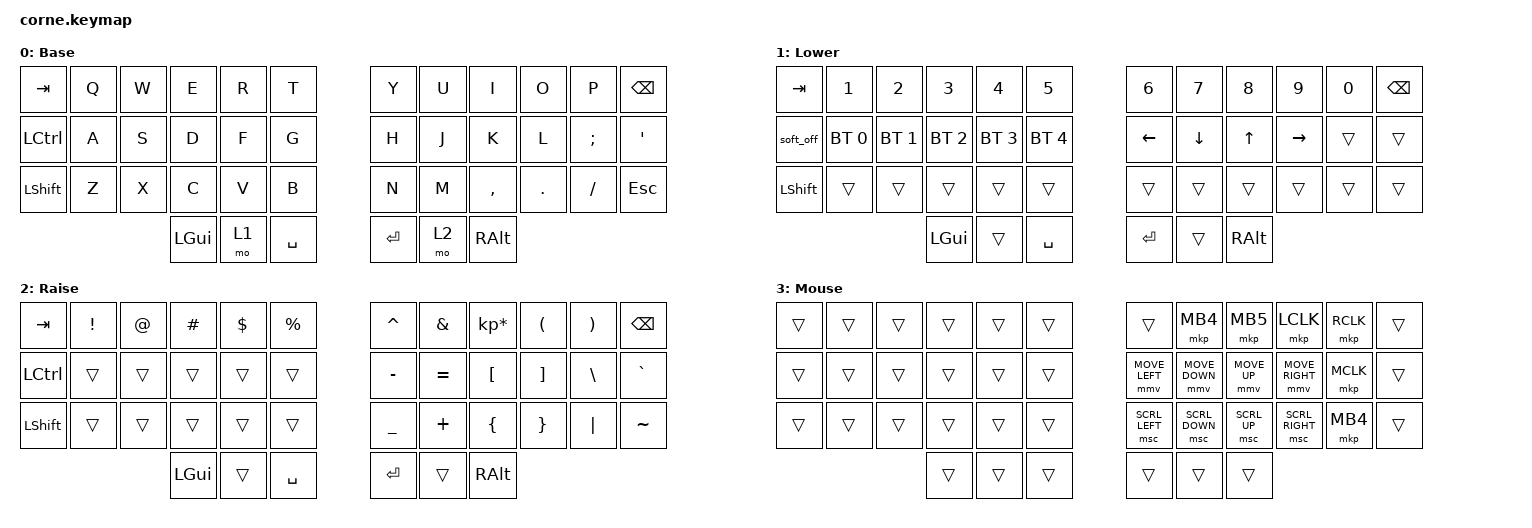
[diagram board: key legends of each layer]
/*
 * Copyright (c) 2020 The ZMK Contributors
 *
 * SPDX-License-Identifier: MIT
 */

#include <behaviors.dtsi>
#include <dt-bindings/zmk/keys.h>
#include <dt-bindings/zmk/bt.h>
#include <dt-bindings/zmk/pointing.h>
#include <input/processors.dtsi>

/ {
        soft_off_wakeup: soft_off_wakeup {
                compatible = "zmk,soft-off-wakeup-sources";
                wakeup-sources = <&kscan0>;
        };

        keymap {
                compatible = "zmk,keymap";

                default_layer {
// -----------------------------------------------------------------------------------------
// |  TAB |  Q  |  W  |  E  |  R  |  T  |   |  Y  |  U   |  I  |  O  |  P  | BKSP |
// | CTRL |  A  |  S  |  D  |  F  |  G  |   |  H  |  J   |  K  |  L  |  ;  |  '   |
// | SHFT |  Z  |  X  |  C  |  V  |  B  |   |  N  |  M   |  ,  |  .  |  /  | ESC  |
//                    | GUI | LWR | SPC |   | ENT | RSE  | ALT |
                        display-name = "Base";
                        bindings = <
   &kp TAB   &kp Q &kp W &kp E &kp R &kp T   &kp Y &kp U  &kp I     &kp O   &kp P    &kp BSPC
   &kp LCTRL &kp A &kp S &kp D &kp F &kp G   &kp H &kp J  &kp K     &kp L   &kp SEMI &kp SQT
   &kp LSHFT &kp Z &kp X &kp C &kp V &kp B   &kp N &kp M  &kp COMMA &kp DOT &kp FSLH &kp ESC
                  &kp LGUI &mo 1 &kp SPACE   &kp RET &mo 2 &kp RALT
                        >;
                };
                lower_layer {
// -----------------------------------------------------------------------------------------
// |  TAB |  1  |  2  |  3  |  4  |  5  |   |  6  |  7  |  8  |  9  |  0  | BKSP |
// | BTCLR| BT1 | BT2 | BT3 | BT4 | BT5 |   | LFT | DWN |  UP | RGT |     |      |
// | SHFT |     |     |     |     |     |   |     |     |     |     |     |      |
//                    | GUI |     | SPC |   | ENT |     | ALT |
                        display-name = "Lower";
                        bindings = <
   &kp TAB    &kp N1       &kp N2       &kp N3       &kp N4       &kp N5         &kp N6   &kp N7   &kp N8 &kp N9    &kp N0 &kp BSPC
   &soft_off  &bt BT_SEL 0 &bt BT_SEL 1 &bt BT_SEL 2 &bt BT_SEL 3 &bt BT_SEL 4   &kp LEFT &kp DOWN &kp UP &kp RIGHT &trans &trans
   &kp LSHFT  &trans       &trans       &trans       &trans       &trans         &trans   &trans   &trans &trans    &trans &trans
                          	        &kp LGUI     &trans       &kp SPACE      &kp RET  &trans   &kp RALT
                        >;
                };

                raise_layer {
// -----------------------------------------------------------------------------------------
// |  TAB |  !  |  @  |  #  |  $  |  %  |   |  ^  |  &  |  *  |  (  |  )  | BKSP |
// | CTRL |     |     |     |     |     |   |  -  |  =  |  [  |  ]  |  \  |  `   |
// | SHFT |     |     |     |     |     |   |  _  |  +  |  {  |  }  | "|" |  ~   |
//                    | GUI |     | SPC |   | ENT |     | ALT |
                        display-name = "Raise";
                        bindings = <
   &kp  TAB  &kp EXCL &kp AT &kp HASH &kp DLLR &kp PRCNT   &kp CARET &kp AMPS  &kp KP_MULTIPLY &kp LPAR &kp RPAR &kp BSPC
   &kp LCTRL &trans   &trans &trans   &trans   &trans      &kp MINUS &kp EQUAL &kp LBKT        &kp RBKT &kp BSLH &kp GRAVE
   &kp LSHFT &trans   &trans &trans   &trans   &trans      &kp UNDER &kp PLUS  &kp LBRC        &kp RBRC &kp PIPE &kp TILDE
                    	     &kp LGUI &trans   &kp SPACE   &kp RET   &trans    &kp RALT
                        >;
                };

                mouse_layer {
// -----------------------------------------------------------------------------------------
// |      |     |     |     |     |     |   |     | MB4 | MB5 | LCLK| RCLK|      |
// |      |     |     |     |     |     |   | MLFT| MDWN| MUP | MRGT| MCLK|      |
// |      |     |     |     |     |     |   | SLFT| SDWN| SUP | SRGT| MB4 |      |
//                    |     |     |     |   |     |     |     |
                        display-name = "Mouse";
                        bindings = <
   &trans    &trans &trans &trans &trans &trans   &trans          &mkp MB4      &mkp MB5    &mkp LCLK     &mkp RCLK    &trans
   &trans    &trans &trans &trans &trans &trans   &mmv MOVE_LEFT  &mmv MOVE_DOWN &mmv MOVE_UP &mmv MOVE_RIGHT &mkp MCLK  &trans
   &trans    &trans &trans &trans &trans &trans   &msc SCRL_LEFT  &msc SCRL_DOWN &msc SCRL_UP &msc SCRL_RIGHT &mkp MB4   &trans
                    &trans &trans &trans           &trans          &trans         &trans
                        >;
                };

                extra_1 {
                        status = "reserved";
                };

                extra_2 {
                        status = "reserved";
                };

                extra_3 {
                        status = "reserved";
                };
        };

};

&soft_off {
        hold-time-ms = <5000>;
};
